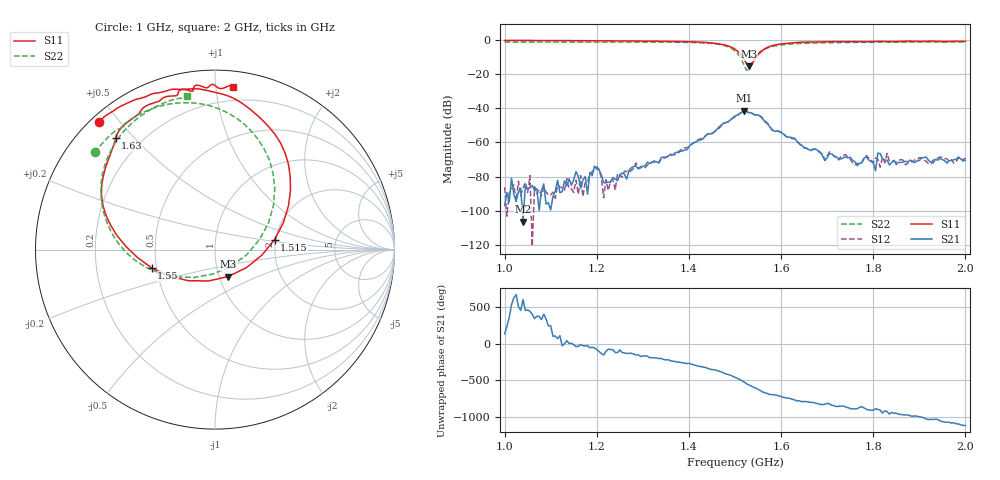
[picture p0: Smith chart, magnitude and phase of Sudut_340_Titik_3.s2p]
# Hz S RI R 50
! CMT, C1220, 16058040, 17.2.0/1
! Date: 14/08/2018 12:41:56
! Data: Format (Calibration Info)
! Freq  S11: Re/Im (F2)  S21: Re/Im (F2)  S12: Re/Im (F2)  S22: Re/Im (F2)
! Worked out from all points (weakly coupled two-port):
!   201 points, 1 GHz to 2 GHz, reference 50 ohm
!   highest |S21| = -41.41 dB at 1.52 GHz (marker M1); lowest = -106.5 dB at 1.04 GHz (marker M2)
!   lowest |S11| = -15.5 dB at 1.53 GHz (marker M3), VSWR 1.40, Z = 55.2 - j17 ohm
!   |S11| at or under -10 dB: 1.516 GHz to 1.547 GHz (30.25 MHz wide, 1.98 % of centre)
!   |S22| runs from -17.9 to -1.2 dB; largest |S21 - S12| = 0.00037
!   S11 on the Smith chart (normalised r, x): 1 GHz: 0.02, +0.44; 1.515 GHz: 1.97, +0.25; 1.55 GHz: 0.47, -0.11; 1.63 GHz: 0.11, +0.44; 2 GHz: 0.10, +1.11
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1e9  -0.6477 0.7137  -9.73e-06 1.03e-05  9.78e-06 4.76e-05  -0.6707 0.5418
1.04e9  -0.6159 0.7413  -2.17e-06 -4.21e-06  -1.89e-05 4.09e-05  -0.6481 0.5686
1.17e9  -0.4736 0.8223  7e-05 -3.87e-05  2.56e-05 -2.95e-06  -0.5581 0.6592
1.195e9  -0.4381 0.8375  0.000102 -0.000174  0.00011 -0.000105  -0.5333 0.6726
1.265e9  -0.3364 0.8709  -5.78e-05 -6.12e-05  -6.26e-05 -0.000126  -0.4735 0.7235
1.335e9  -0.2118 0.8929  -0.00023 9.99e-05  -0.000243 8.96e-05  -0.3733 0.7762
1.45e9  0.184 0.791  0.00178 0.000201  0.00186 0.000101  0.0186 0.7852
1.5e9  0.4206 0.3315  -0.00102 -0.00585  -0.000963 -0.00549  0.333 0.3389
1.515e9  0.3317 0.0555  -0.00621 -0.00434  -0.0061 -0.00455  0.2466 0.0543
1.52e9  0.2625 -0.0296  -0.00822 -0.00218  -0.00826 -0.00229  0.1763 -0.0291
1.53e9  0.0733 -0.15  -0.00673 0.00297  -0.00679 0.00297  -0.0129 -0.1365
1.55e9  -0.353 -0.1016  -0.000717 0.00632  -0.000974 0.00631  -0.3833 -0.0998
1.63e9  -0.5535 0.6209  0.000816 -0.00101  0.000853 -0.000944  -0.6151 0.4659
1.67e9  -0.438 0.7455  5.99e-05 -0.00063  8.99e-05 -0.000627  -0.5628 0.5835
1.76e9  -0.2647 0.8535  -0.00027 -4.22e-05  -0.000216 -5.53e-05  -0.446 0.7193
1.785e9  -0.2095 0.8606  -0.000373 -1.14e-05  -0.000412 -4.16e-05  -0.4145 0.7435
1.805e9  -0.1984 0.887  -0.000144 -3.11e-05  -0.000306 0.000181  -0.3902 0.7607
1.81e9  -0.191 0.8909  -0.000484 1.51e-06  -0.000317 4.61e-05  -0.3844 0.7648
1.815e9  -0.1807 0.8923  -0.000469 5.23e-05  -0.00018 5.45e-05  -0.3784 0.7686
1.83e9  -0.1428 0.8854  -0.000263 0.000141  -0.000395 0.000266  -0.3607 0.7788
1.835e9  -0.1327 0.8824  -9.92e-05 0.000194  -0.000181 0.000208  -0.3549 0.7826
2e9  0.1017 0.9065  0.000236 -0.000188  0.000253 -0.000243  -0.1555 0.854
